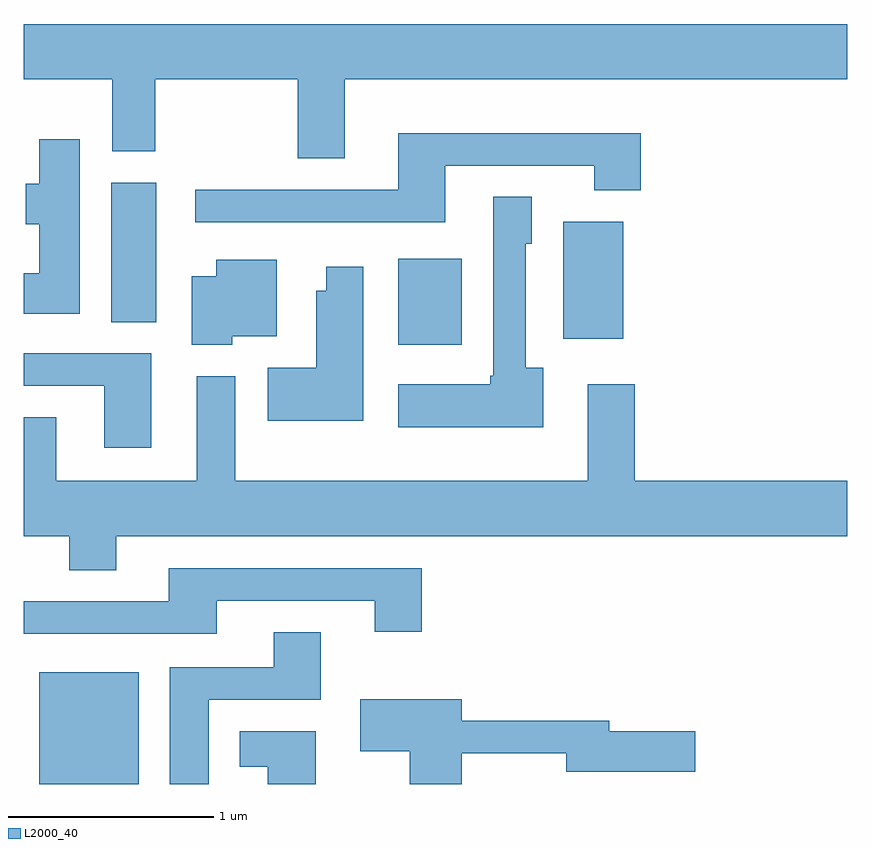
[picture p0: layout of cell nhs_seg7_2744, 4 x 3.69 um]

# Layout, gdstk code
import gdstk
lib = gdstk.Library(unit=1e-6, precision=1e-09)
def R(c, l, rs):  # rectangles x0, y0, x1, y1
    for r in rs: c.add(gdstk.rectangle(r[:2], r[2:], *l))
def P(c, l, *ps):  # polygons
    for p in ps: c.add(gdstk.Polygon(p, *l))
L2000_40 = (2000, 40)

nhs_seg7_2744 = lib.new_cell('nhs_seg7_2744')
R(nhs_seg7_2744, L2000_40, [(269.686,1684.252,270.169,1684.794), (271.431,1686.386,271.739,1686.804), (272.231,1686.416,272.524,1686.984), (270.036,1686.496,270.254,1687.174)])
P(nhs_seg7_2744, L2000_40, [(271.169,1687.676),(273.611,1687.676),(273.611,1687.944),(269.611,1687.944),(269.611,1687.676),(270.041,1687.676),(270.041,1687.326),(270.249,1687.326),(270.249,1687.676),(270.941,1687.676),(270.941,1687.291),(271.169,1687.291)],
  [(271.659,1687.256),(272.381,1687.256),(272.381,1687.136),(272.609,1687.136),(272.609,1687.414),(271.431,1687.414),(271.431,1687.139),(270.443,1687.139),(270.443,1686.981),(271.659,1686.981)],
  [(269.884,1687.384),(269.686,1687.384),(269.686,1687.169),(269.621,1687.169),(269.621,1686.971),(269.686,1686.971),(269.686,1686.734),(269.611,1686.734),(269.611,1686.536),(269.884,1686.536)],
  [(272.134,1686.274),(272.049,1686.274),(272.049,1686.876),(272.079,1686.876),(272.079,1687.104),(271.891,1687.104),(271.891,1686.235),(271.876,1686.235),(271.876,1686.194),(271.431,1686.194),(271.431,1685.986),(272.134,1685.986)],
  [(270.624,1686.426),(270.839,1686.426),(270.839,1686.799),(270.546,1686.799),(270.546,1686.719),(270.426,1686.719),(270.426,1686.386),(270.624,1686.386)],
  [(271.259,1686.764),(271.081,1686.764),(271.081,1686.649),(271.031,1686.649),(271.031,1686.274),(270.796,1686.274),(270.796,1686.016),(271.259,1686.016)],
  [(270.229,1686.344),(269.611,1686.344),(269.611,1686.186),(270.001,1686.186),(270.001,1685.886),(270.229,1685.886)],
  [(270.059,1685.456),(273.611,1685.456),(273.611,1685.724),(272.579,1685.724),(272.579,1686.194),(272.351,1686.194),(272.351,1685.724),(270.639,1685.724),(270.639,1686.234),(270.451,1686.234),(270.451,1685.724),(269.769,1685.724),(269.769,1686.034),(269.611,1686.034),(269.611,1685.456),(269.831,1685.456),(269.831,1685.291),(270.059,1685.291)],
  [(270.549,1685.141),(271.316,1685.141),(271.316,1684.991),(271.544,1684.991),(271.544,1685.299),(270.316,1685.299),(270.316,1685.139),(269.611,1685.139),(269.611,1684.981),(270.549,1684.981)],
  [(270.509,1684.661),(271.054,1684.661),(271.054,1684.989),(270.826,1684.989),(270.826,1684.819),(270.321,1684.819),(270.321,1684.252),(270.509,1684.252)],
  [(271.739,1684.401),(272.246,1684.401),(272.246,1684.311),(272.874,1684.311),(272.874,1684.509),(272.454,1684.509),(272.454,1684.559),(271.739,1684.559),(271.739,1684.664),(271.246,1684.664),(271.246,1684.411),(271.486,1684.411),(271.486,1684.252),(271.739,1684.252)],
  [(271.029,1684.509),(270.661,1684.509),(270.661,1684.336),(270.796,1684.336),(270.796,1684.252),(271.029,1684.252)])

lib.write_gds('nhs_seg7_2744.gds')
